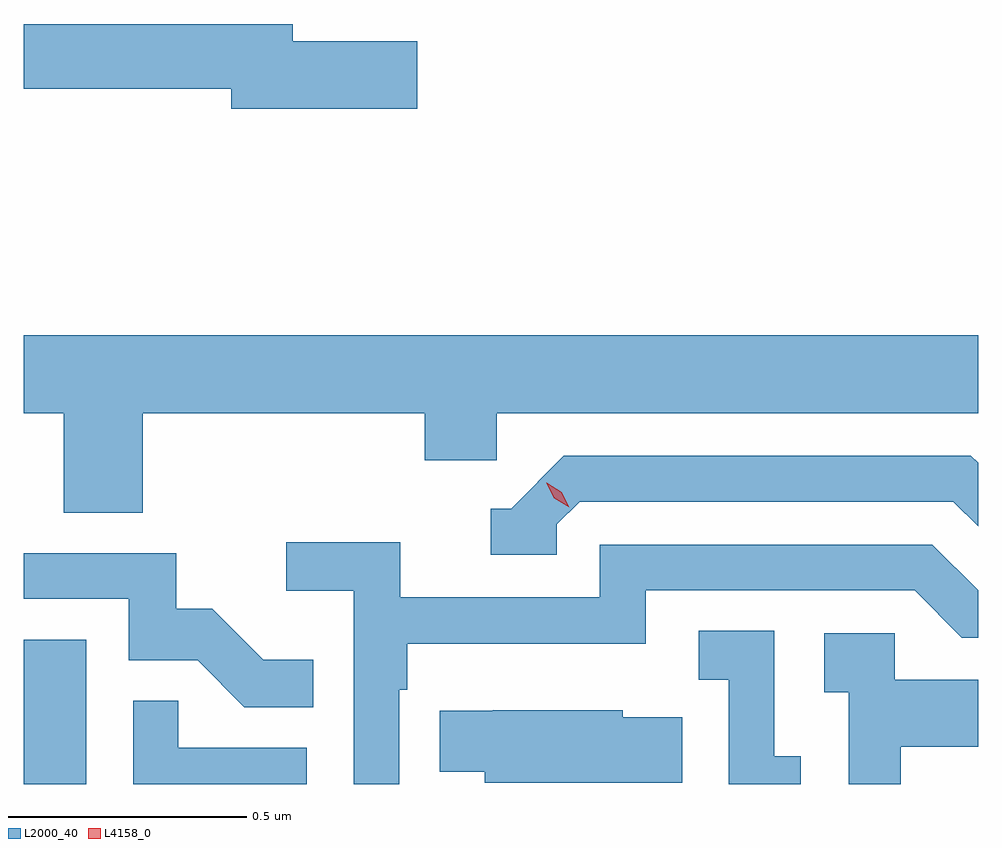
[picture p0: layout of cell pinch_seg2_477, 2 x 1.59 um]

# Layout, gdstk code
import gdstk
lib = gdstk.Library(unit=1e-6, precision=1e-09)
def R(c, l, rs):  # rectangles x0, y0, x1, y1
    for r in rs: c.add(gdstk.rectangle(r[:2], r[2:], *l))
def P(c, l, *ps):  # polygons
    for p in ps: c.add(gdstk.Polygon(p, *l))
L2000_40 = (2000, 40)
L4158_0 = (4158, 0)

pinch_seg2_477 = lib.new_cell('pinch_seg2_477')
R(pinch_seg2_477, L2000_40, [(909.719,585.587,909.85,585.889)])
P(pinch_seg2_477, L2000_40, [(910.543,587.144),(910.282,587.144),(910.282,587.18),(909.719,587.18),(909.719,587.044),(910.154,587.044),(910.154,587.002),(910.543,587.002)],
  [(909.968,586.364),(910.559,586.364),(910.559,586.266),(910.71,586.266),(910.71,586.364),(911.719,586.364),(911.719,586.528),(909.719,586.528),(909.719,586.364),(909.803,586.364),(909.803,586.156),(909.968,586.156)],
  [(910.836,586.131),(910.884,586.179),(911.667,586.179),(911.719,586.127),(911.719,586.26),(911.704,586.275),(910.851,586.275),(910.74,586.164),(910.697,586.164),(910.697,586.068),(910.836,586.068)],
  [(910.506,585.785),(910.523,585.785),(910.523,585.881),(911.022,585.881),(911.022,585.993),(911.586,585.993),(911.685,585.894),(911.719,585.894),(911.719,585.993),(911.623,586.089),(910.926,586.089),(910.926,585.978),(910.508,585.978),(910.508,586.094),(910.269,586.094),(910.269,585.992),(910.41,585.992),(910.41,585.587),(910.506,585.587)],
  [(910.325,585.847),(910.221,585.847),(910.114,585.954),(910.038,585.954),(910.038,586.071),(909.719,586.071),(909.719,585.975),(909.939,585.975),(909.939,585.846),(910.083,585.846),(910.181,585.748),(910.325,585.748)],
  [(911.347,585.645),(911.292,585.645),(911.292,585.908),(911.133,585.908),(911.133,585.805),(911.196,585.805),(911.196,585.587),(911.347,585.587)],
  [(911.557,585.665),(911.719,585.665),(911.719,585.805),(911.544,585.805),(911.544,585.903),(911.397,585.903),(911.397,585.779),(911.448,585.779),(911.448,585.587),(911.557,585.587)],
  [(910.312,585.663),(910.043,585.663),(910.043,585.761),(909.948,585.761),(909.948,585.587),(910.312,585.587)],
  [(911.099,585.727),(910.974,585.727),(910.974,585.742),(910.702,585.742),(910.702,585.741),(910.591,585.741),(910.591,585.613),(910.685,585.613),(910.685,585.59),(911.099,585.59)])
P(pinch_seg2_477, L4158_0, [(910.862,586.167),(910.831,586.186),(910.814,586.218),(910.814,586.218),(910.815,586.218),(910.846,586.199),(910.862,586.167),(910.862,586.167)])

lib.write_gds('pinch_seg2_477.gds')
